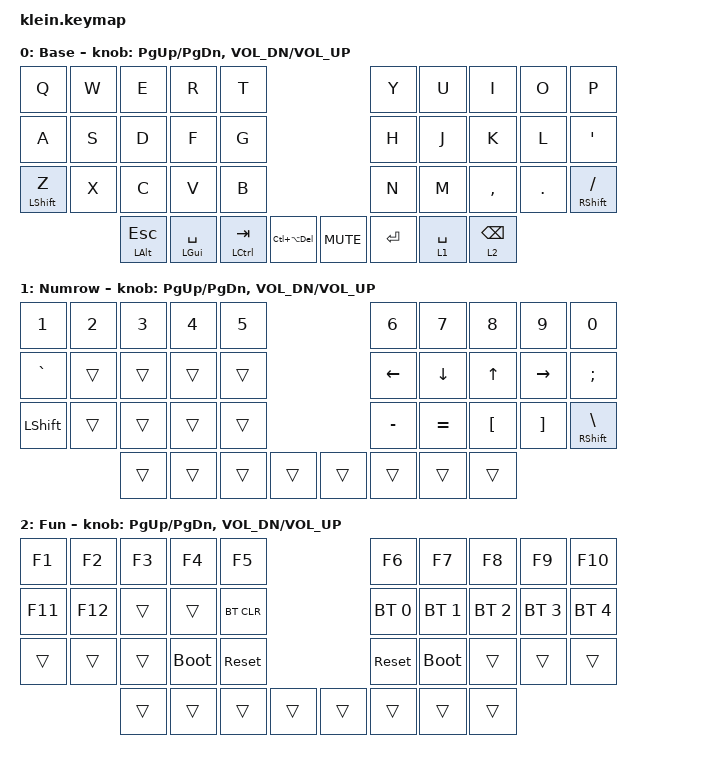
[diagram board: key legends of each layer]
/*
 * Copyright (c) 2020 The ZMK Contributors
 *
 * SPDX-License-Identifier: MIT
 */

#include <behaviors.dtsi>
#include <dt-bindings/zmk/bt.h>
#include <dt-bindings/zmk/keys.h>
#include <dt-bindings/zmk/outputs.h>

#define BASE 0
#define NUM  1
#define FUN  2


&mt {
    quick-tap-ms = <100>;
    require-prior-idle-ms = <200>;
    flavor = "tap-preferred";
    tapping-term-ms = <180>;
};

/ {
    macros {
        C_A_D: C_A_D {
            compatible = "zmk,behavior-macro";
            #binding-cells = <0>;
            bindings =
                <&macro_tap>,
                <&kp LA(LC(DEL))>,
                <&macro_pause_for_release>,
                <&macro_release>;

            tap-ms = <100>;
            wait-ms = <100>;
        };
     };
 };
/ {
    combos {
        compatible = "zmk,combos";

        combo_capslock {
            bindings = <&caps_word>;
            key-positions = <13 16>;
            layers = <0>;
        };
    };
};

/ {
    behaviors {
        rpi: require_prior_idle {
            compatible = "zmk,behavior-hold-tap";
            #binding-cells = <2>;
            flavor = "tap-preferred";
            tapping-term-ms = <200>;
            quick-tap-ms = <125>;
            require-prior-idle-ms = <125>;
            bindings = <&kp>, <&kp>;
        };
    };

    keymap {
        compatible = "zmk,keymap";

        Base {
            //          ------------------------------------------------------------------------------------------------------------
            //          |  Q  |  W  |  E   |  R   |  T   |                        |  Y   |  U    |  I    |  O   |   P   |
            //          |  A  |  S  |  D   |  F   |  G   |                        |  H   |  J    |  K    |  L   |   '   |
            //          |  Z  |  X  |  C   |  V   |  B   |                        |  N   |  M    |  ,    |  .   |   /   |
            //                             | ESC  | SPC  |  TAB | C/A/D |  | MUTE | SPC  |  BKSP |  DEL  |

            bindings = <
&kp Q            &kp W           &kp E          &kp R           &kp T                                       &kp Y        &kp U        &kp I         &kp O            &kp P
&kp A            &kp S           &kp D          &kp F           &kp G                                       &kp H        &kp J        &kp K         &kp L            &kp SQT
&mt LSHIFT Z     &kp X           &kp C          &kp V           &kp B                                       &kp N        &kp M        &kp COMMA     &kp DOT   &mt RSHIFT FSLH
                                 &mt LALT ESC   &mt LGUI SPACE  &mt LCTRL TAB  &kp LC(LA(DEL)) &kp C_MUTE   &kp ENTER  &lt 1 SPACE &lt 2 BSPC  
                        >;

            sensor-bindings = <&inc_dec_kp PG_UP PG_DN &inc_dec_kp C_VOL_DN C_VOL_UP>;
        };

        Numrow {
            //          ------------------------------------------------------------------------------------------------------------
            //          |  1  |  2  |  3   |  4   |  5   |                        |  6   |  7    |  8    |  9   |   0   |
            //          |  `  |  S  |  D   |  F   |  G   |                        | LEFT | DOWN  |   UP  |RIGHT |  ;:   |
            //          |SHIFT|  X  |  C   |  V   |  B   |                        |  -   |  =    |  [    |  ]   |   \|  |
            //                             | ESC  | SPC  |  TAB | C/A/D |  | MUTE | SPC  |  BKSP |  DEL  |
            bindings = <
&kp N1     &kp N2  &kp N3  &kp N4  &kp N5                              &kp N6      &kp N7        &kp N8       &kp N9     &kp N0
&kp GRAVE  &trans  &trans  &trans  &trans                              &kp LEFT    &kp DOWN      &kp UP       &kp RIGHT  &kp SEMI
&kp LSHFT  &trans  &trans  &trans  &trans                              &kp MINUS   &kp EQUAL     &kp LBKT     &kp RBKT   &mt RSHIFT BACKSLASH
                           &trans  &trans  &trans    &trans  &trans      &trans      &trans      &trans
            >;

            sensor-bindings = <&inc_dec_kp PG_UP PG_DN &inc_dec_kp C_VOL_DN C_VOL_UP>;
        };

        Fun {
            //          ------------------------------------------------------------------------------------------------------------
            //          |  F1  |  F2  |  F3   |  F4   |   F5   |                        |  F6   |  F7    |  F8   |  F9   |  F10   |
            //          |  F11 | F12  |  D    |   F   |BT CLEAR|                        | BT 0  | BT 1   |  BT 2 |  BT 3 |  BT 4  |
            //          |   Z  |   X  |   C   |BtLder |  RST   |                        |  RST  |BtLder  |  ,    |   .   |    /   |
            //                             | ESC  | SPC  |  TAB | C/A/D |  | MUTE | SPC  |  BKSP |  DEL  |
            bindings = <
&kp F1   &kp F2   &kp F3  &kp F4       &kp F5                                    &kp F6                &kp F7                &kp F8                &kp F9        &kp F10
&kp F11  &kp F12  &trans  &trans       &bt BT_CLR                                &bt BT_SEL 0          &bt BT_SEL 1          &bt BT_SEL 2          &bt BT_SEL 3  &bt BT_SEL 4
&trans   &trans   &trans  &bootloader  &sys_reset                                &sys_reset            &bootloader           &trans                &trans        &trans
                          &trans       &trans        &trans     &trans  &trans     &trans      &trans                &trans
            >;

            sensor-bindings = <&inc_dec_kp PG_UP PG_DN &inc_dec_kp C_VOL_DN C_VOL_UP>;
        };
    };
};
